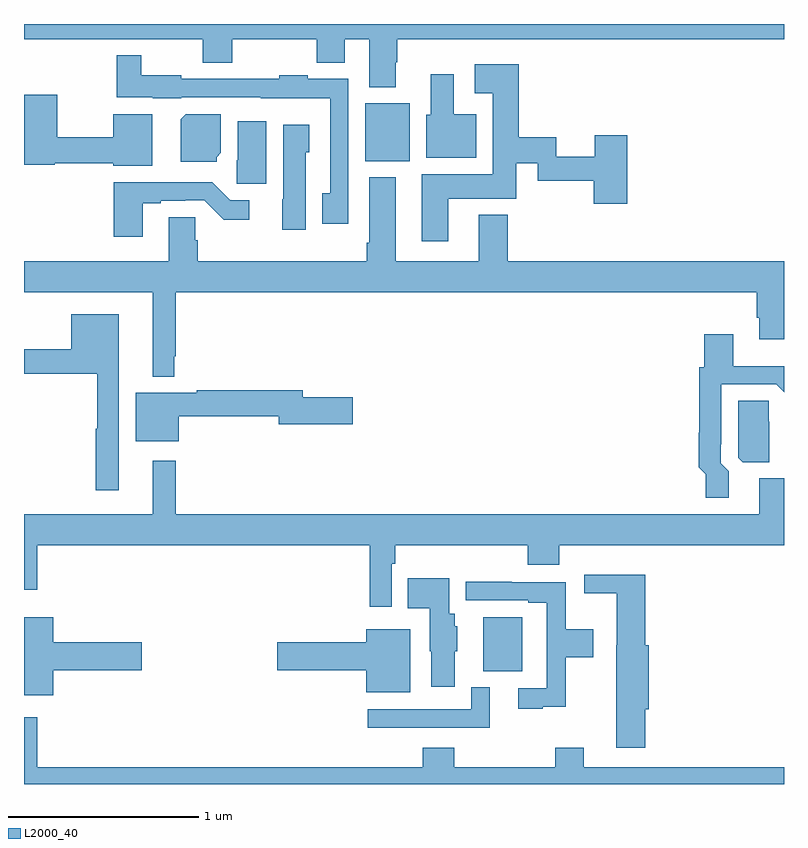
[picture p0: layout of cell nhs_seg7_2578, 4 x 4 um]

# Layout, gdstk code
import gdstk
lib = gdstk.Library(unit=1e-6, precision=1e-09)
def R(c, l, rs):  # rectangles x0, y0, x1, y1
    for r in rs: c.add(gdstk.rectangle(r[:2], r[2:], *l))
def P(c, l, *ps):  # polygons
    for p in ps: c.add(gdstk.Polygon(p, *l))
L2000_40 = (2000, 40)

nhs_seg7_2578 = lib.new_cell('nhs_seg7_2578')
R(nhs_seg7_2578, L2000_40, [(281.417,1026.593,281.623,1026.877), (280.796,1029.278,281.029,1029.583)])
P(nhs_seg7_2578, L2000_40, [(280.957,1029.8),(280.965,1029.8),(280.965,1029.92),(283,1029.92),(283,1030),(279,1030),(279,1029.92),(279.94,1029.92),(279.94,1029.796),(280.095,1029.796),(280.095,1029.92),(280.54,1029.92),(280.54,1029.796),(280.687,1029.796),(280.687,1029.92),(280.817,1029.92),(280.817,1029.668),(280.957,1029.668)],
  [(280.707,1029.711),(280.494,1029.711),(280.494,1029.729),(280.344,1029.729),(280.344,1029.711),(279.828,1029.711),(279.828,1029.73),(279.616,1029.73),(279.616,1029.835),(279.487,1029.835),(279.487,1029.614),(279.678,1029.614),(279.678,1029.608),(279.828,1029.608),(279.828,1029.615),(280.245,1029.615),(280.245,1029.608),(280.611,1029.608),(280.611,1029.11),(280.571,1029.11),(280.571,1028.949),(280.707,1028.949)],
  [(281.233,1029.08),(281.59,1029.08),(281.59,1029.268),(281.703,1029.268),(281.703,1029.174),(281.998,1029.174),(281.998,1029.054),(282.176,1029.054),(282.176,1029.415),(282.005,1029.415),(282.005,1029.302),(281.801,1029.302),(281.801,1029.404),(281.603,1029.404),(281.603,1029.787),(281.373,1029.787),(281.373,1029.635),(281.468,1029.635),(281.468,1029.208),(281.093,1029.208),(281.093,1028.856),(281.233,1028.856)],
  [(281.38,1029.526),(281.263,1029.526),(281.263,1029.736),(281.141,1029.736),(281.141,1029.522),(281.117,1029.522),(281.117,1029.296),(281.38,1029.296)],
  [(279.676,1029.526),(279.47,1029.526),(279.47,1029.404),(279.174,1029.404),(279.174,1029.628),(279,1029.628),(279,1029.26),(279.162,1029.26),(279.162,1029.268),(279.47,1029.268),(279.47,1029.254),(279.676,1029.254)],
  [(280.014,1029.3),(280.036,1029.322),(280.036,1029.526),(279.85,1029.526),(279.824,1029.5),(279.824,1029.275),(280.014,1029.275)],
  [(280.276,1029.487),(280.124,1029.487),(280.124,1029.282),(280.12,1029.282),(280.12,1029.159),(280.276,1029.159)],
  [(280.483,1029.324),(280.501,1029.324),(280.501,1029.469),(280.364,1029.469),(280.364,1029.078),(280.358,1029.078),(280.358,1028.916),(280.483,1028.916)],
  [(279.792,1028.251),(279.799,1028.251),(279.799,1028.588),(282.857,1028.588),(282.857,1028.455),(282.869,1028.455),(282.869,1028.34),(283,1028.34),(283,1028.752),(281.546,1028.752),(281.546,1028.995),(281.393,1028.995),(281.393,1028.752),(280.957,1028.752),(280.957,1029.193),(280.817,1029.193),(280.817,1028.848),(280.805,1028.848),(280.805,1028.752),(279.914,1028.752),(279.914,1028.862),(279.9,1028.862),(279.9,1028.984),(279.761,1028.984),(279.761,1028.752),(279,1028.752),(279,1028.588),(279.677,1028.588),(279.677,1028.144),(279.792,1028.144)],
  [(279.625,1029.057),(279.721,1029.057),(279.721,1029.069),(279.848,1029.069),(279.848,1029.072),(279.948,1029.072),(280.051,1028.97),(280.186,1028.97),(280.186,1029.072),(280.086,1029.072),(279.992,1029.166),(279.473,1029.166),(279.473,1028.88),(279.625,1028.88)],
  [(279.499,1028.473),(279.248,1028.473),(279.248,1028.287),(279,1028.287),(279,1028.158),(279.385,1028.158),(279.385,1027.869),(279.378,1027.869),(279.378,1027.545),(279.499,1027.545)],
  [(282.709,1027.646),(282.666,1027.689),(282.666,1027.789),(282.669,1027.789),(282.669,1028.103),(282.96,1028.103),(283,1028.063),(283,1028.2),(282.733,1028.2),(282.733,1028.368),(282.581,1028.368),(282.581,1028.193),(282.553,1028.193),(282.553,1027.85),(282.551,1027.85),(282.551,1027.668),(282.589,1027.629),(282.589,1027.506),(282.709,1027.506)],
  [(279.814,1027.936),(280.34,1027.936),(280.34,1027.894),(280.729,1027.894),(280.729,1028.036),(280.468,1028.036),(280.468,1028.072),(279.91,1028.072),(279.91,1028.059),(279.587,1028.059),(279.587,1027.805),(279.814,1027.805)],
  [(282.922,1027.907),(282.921,1027.907),(282.921,1028.018),(282.759,1028.018),(282.759,1027.716),(282.783,1027.693),(282.922,1027.693)],
  [(280.935,1027.16),(280.955,1027.16),(280.955,1027.256),(281.651,1027.256),(281.651,1027.154),(281.816,1027.154),(281.816,1027.256),(283,1027.256),(283,1027.608),(282.869,1027.608),(282.869,1027.42),(279.799,1027.42),(279.799,1027.702),(279.677,1027.702),(279.677,1027.42),(279,1027.42),(279,1027.023),(279.071,1027.023),(279.071,1027.256),(280.819,1027.256),(280.819,1026.933),(280.935,1026.933)],
  [(282.269,1026.393),(282.287,1026.393),(282.287,1026.729),(282.269,1026.729),(282.269,1027.102),(281.949,1027.102),(281.949,1027.004),(282.119,1027.004),(282.119,1026.729),(282.116,1026.729),(282.116,1026.192),(282.269,1026.192)],
  [(281.266,1026.699),(281.281,1026.699),(281.281,1026.831),(281.266,1026.831),(281.266,1026.897),(281.239,1026.897),(281.239,1027.084),(281.02,1027.084),(281.02,1026.926),(281.135,1026.926),(281.135,1026.699),(281.144,1026.699),(281.144,1026.513),(281.266,1026.513)],
  [(281.729,1026.407),(281.852,1026.407),(281.852,1026.667),(281.995,1026.667),(281.995,1026.814),(281.852,1026.814),(281.852,1027.062),(281.567,1027.062),(281.567,1027.064),(281.325,1027.064),(281.325,1026.966),(281.654,1026.966),(281.654,1026.954),(281.751,1026.954),(281.751,1026.504),(281.601,1026.504),(281.601,1026.396),(281.729,1026.396)],
  [(279.154,1026.599),(279.619,1026.599),(279.619,1026.746),(279.154,1026.746),(279.154,1026.877),(279,1026.877),(279,1026.467),(279.154,1026.467)],
  [(281.032,1026.814),(280.802,1026.814),(280.802,1026.746),(280.332,1026.746),(280.332,1026.599),(280.802,1026.599),(280.802,1026.482),(281.032,1026.482)],
  [(281.452,1026.508),(281.355,1026.508),(281.355,1026.393),(280.809,1026.393),(280.809,1026.297),(281.452,1026.297)],
  [(283,1026.088),(281.947,1026.088),(281.947,1026.19),(281.795,1026.19),(281.795,1026.088),(281.264,1026.088),(281.264,1026.19),(281.099,1026.19),(281.099,1026.088),(279.071,1026.088),(279.071,1026.352),(279,1026.352),(279,1026),(283,1026)])

lib.write_gds('nhs_seg7_2578.gds')
